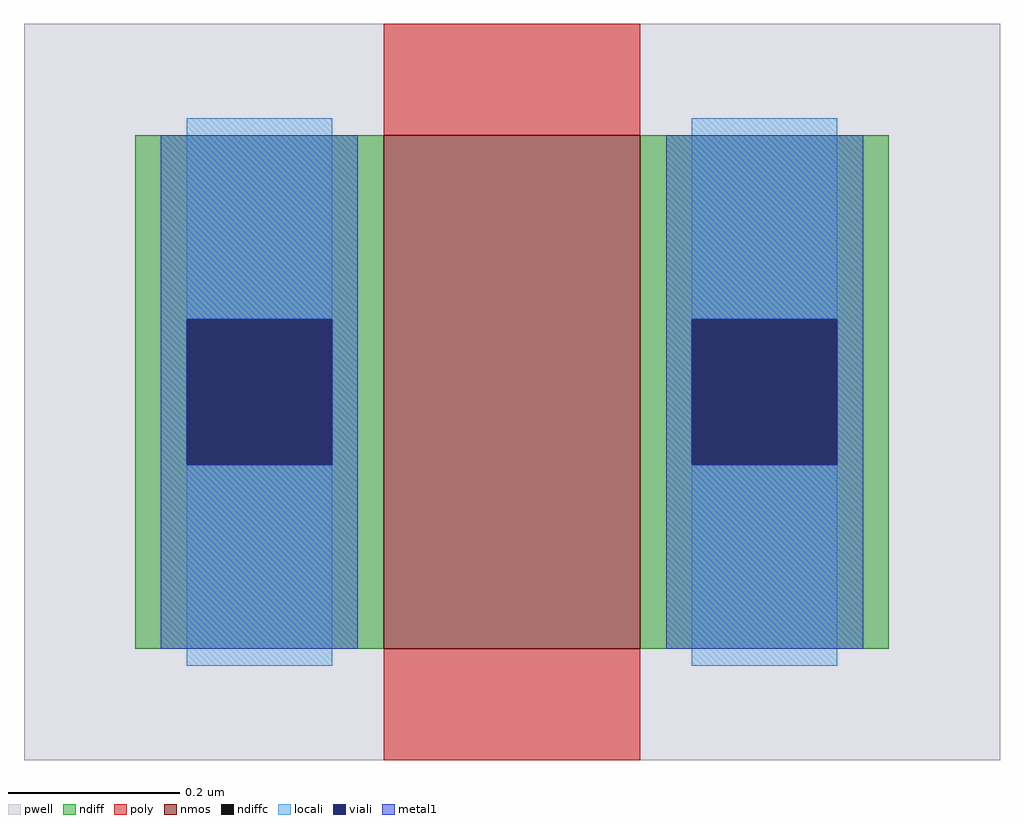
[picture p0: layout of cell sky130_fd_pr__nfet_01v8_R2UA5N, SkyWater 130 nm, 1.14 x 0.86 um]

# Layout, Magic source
magic
tech sky130A
magscale 1 2
<< pwell >>
rect -114 -86 114 86
<< nmos >>
rect -30 -60 30 60
<< ndiff >>
rect -88 17 -30 60
rect -88 -17 -76 17
rect -42 -17 -30 17
rect -88 -60 -30 -17
rect 30 17 88 60
rect 30 -17 42 17
rect 76 -17 88 17
rect 30 -60 88 -17
<< ndiffc >>
rect -76 -17 -42 17
rect 42 -17 76 17
<< poly >>
rect -30 60 30 86
rect -30 -86 30 -60
<< locali >>
rect -76 17 -42 64
rect -76 -64 -42 -17
rect 42 17 76 64
rect 42 -64 76 -17
<< viali >>
rect -76 -17 -42 17
rect 42 -17 76 17
<< metal1 >>
rect -82 17 -36 60
rect -82 -17 -76 17
rect -42 -17 -36 17
rect -82 -60 -36 -17
rect 36 17 82 60
rect 36 -17 42 17
rect 76 -17 82 17
rect 36 -60 82 -17
<< end >>
